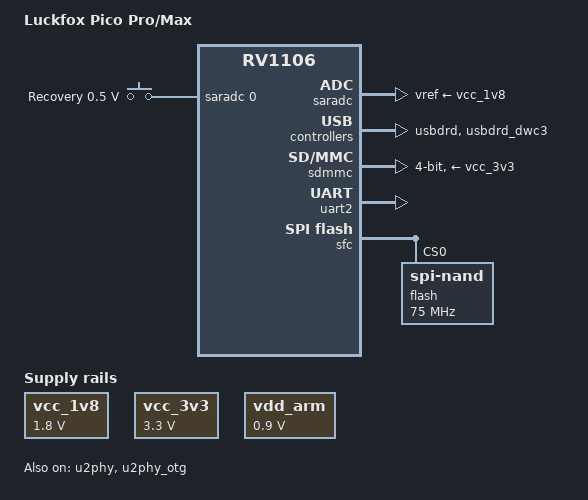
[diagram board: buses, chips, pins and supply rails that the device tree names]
// SPDX-License-Identifier: (GPL-2.0+ OR MIT)
/*
 * Copyright (c) 2022 Rockchip Electronics Co., Ltd.
 */

/dts-v1/;

#include "rv1106.dtsi"
#include <dt-bindings/input/input.h>

/ {
	model = "Luckfox Pico Pro/Max";
	compatible = "luckfox,rv1106-pico-pro-max", "rockchip,rv1106";

	chosen {
		stdout-path = "serial2:115200n8";
	};

	vcc_1v8: vcc-1v8 {
		compatible = "regulator-fixed";
		regulator-name = "vcc_1v8";
		regulator-always-on;
		regulator-boot-on;
		regulator-min-microvolt = <1800000>;
		regulator-max-microvolt = <1800000>;
	};

	vcc_3v3: vcc-3v3 {
		compatible = "regulator-fixed";
		regulator-name = "vcc_3v3";
		regulator-always-on;
		regulator-boot-on;
		regulator-min-microvolt = <3300000>;
		regulator-max-microvolt = <3300000>;
	};

	vdd_arm: vdd-arm {
		compatible = "regulator-fixed";
		regulator-name = "vdd_arm";
		regulator-always-on;
		regulator-boot-on;
		regulator-min-microvolt = <900000>;
		regulator-max-microvolt = <900000>;
	};

	adc-keys {
		compatible = "adc-keys";
		io-channels = <&saradc 0>;
		io-channel-names = "buttons";
		keyup-threshold-microvolt = <1000000>;
		poll-interval = <100>;

		button-recovery {
			label = "Recovery";
			linux,code = <KEY_SETUP>;
			press-threshold-microvolt = <500000>;
		};
	};
};

&cpu0 {
	cpu-supply = <&vdd_arm>;
};

&cpu0_opp_table {
		/delete-node/ opp-1200000000;
		/delete-node/ opp-1296000000;
		/delete-node/ opp-1416000000;
		/delete-node/ opp-1512000000;
		/delete-node/ opp-1608000000;
};

&saradc {
	status = "okay";
	vref-supply = <&vcc_1v8>;
};

&u2phy {
	status = "okay";
};

&u2phy_otg {
	status = "okay";
};

&usbdrd {
	status = "okay";
};

&usbdrd_dwc3 {
	status = "okay";
	extcon = <&u2phy>;
	usb-role-switch;
};

&sdmmc {
	max-frequency = <50000000>;
	bus-width = <4>;
	cap-mmc-highspeed;
	cap-sd-highspeed;
	disable-wp;
	cap-sdio-irq;
	status = "okay";

	// TODO: mmc-pwrseq gpio0 PA1?
	pinctrl-names = "default";
	pinctrl-0 = <&sdmmc0_clk &sdmmc0_cmd &sdmmc0_det &sdmmc0_bus4>;

	vqmmc-supply = <&vcc_3v3>;
	vmmc-supply = <&vcc_3v3>;
	no-1-8-v;
};

&uart2 {
	pinctrl-0 = <&uart2m1_xfer>;
	status = "okay";
};

&sfc {
	pinctrl-0 = <&fspi_cs0 &fspi_pins>;
	pinctrl-names = "default";
	status = "okay";

	flash@0 {
		compatible = "spi-nand";
		reg = <0>;
		spi-max-frequency = <75000000>;
		spi-rx-bus-width = <4>;
		spi-tx-bus-width = <1>;
	};
};
